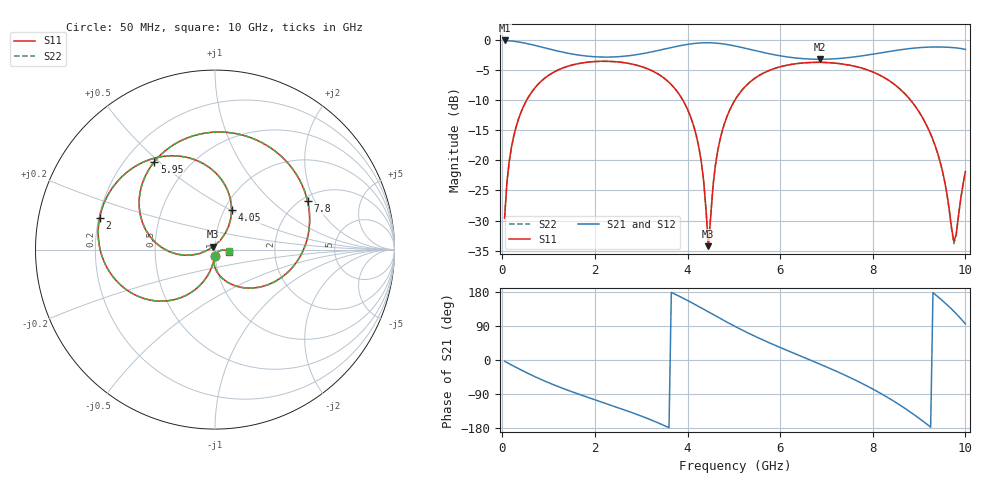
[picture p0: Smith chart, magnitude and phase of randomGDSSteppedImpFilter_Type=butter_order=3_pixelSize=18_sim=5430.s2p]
! freq	dB(S11)	phase(S11)	dB(S12)	phase(S12)
!  dB(S21)	phase(S21)	dB(S22)	phase(S22)
!S-par simulation data
#  GHz  S  DB  R 50
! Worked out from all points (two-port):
!   200 points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, 50 MHz to 10 GHz, reference 50 ohm
!   highest |S21| = -0.01 dB at 50 MHz (marker M1); lowest = -3.1 dB at 6.85 GHz (marker M2)
!   |S21| within 3 dB of the highest: start of sweep to 6.446 GHz; 7.278 GHz to end of sweep
!   lowest |S11| = -34.3 dB at 4.45 GHz (marker M3), VSWR 1.04, Z = 49 + j1.65 ohm
!   |S11| at or under -10 dB: start of sweep to 523.6 MHz; 3.902 GHz to 5.02 GHz (1.117 GHz wide, 25 % of centre); 8.821 GHz to end of sweep
!   |S22| runs from -33.9 to -3.5 dB; largest |S21 - S12| = 0
!   S11 on the Smith chart (normalised r, x): 50 MHz: 0.99, -0.07; 2 GHz: 0.20, +0.13; 4.05 GHz: 1.08, +0.51; 5.95 GHz: 0.32, +0.48; 7.8 GHz: 2.15, +1.76; 10 GHz: 1.17, -0.03
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0.05  -29.60 -93.4  -0.01 -3.3  -0.01 -3.3  -29.60 -93.4
0.2  -17.71 -103.7  -0.10 -13.2  -0.10 -13.2  -17.71 -103.7
0.5  -10.33 -122.6  -0.47 -32.0  -0.47 -32.0  -10.33 -122.6
1.05  -5.57 -153.0  -1.50 -62.5  -1.50 -62.5  -5.57 -153.0
1.75  -3.72 175.1  -2.55 -94.5  -2.55 -94.5  -3.72 175.1
2  -3.52 164.6  -2.73 -104.9  -2.73 -104.9  -3.52 164.7
3.4  -5.78 102.8  -1.62 -167.8  -1.62 -167.8  -5.78 102.9
4.05  -12.41 67.3  -0.60 153.9  -0.60 153.9  -12.41 67.5
4.3  -20.36 57.6  -0.41 137.2  -0.41 137.2  -20.34 58.4
4.45  -34.27 119.3  -0.39 127.0  -0.39 127.0  -33.69 119.7
4.65  -18.46 -166.0  -0.47 113.4  -0.47 113.4  -18.44 -166.8
5.05  -9.61 173.7  -0.97 87.1  -0.97 87.1  -9.61 173.4
5.95  -4.51 124.6  -2.50 35.6  -2.50 35.6  -4.50 124.4
6.7  -3.66 87.1  -3.12 -2.7  -3.12 -2.7  -3.66 86.9
6.85  -3.65 79.5  -3.14 -10.4  -3.14 -10.4  -3.65 79.3
7.8  -4.70 27.7  -2.54 -63.8  -2.54 -63.8  -4.70 27.5
8.35  -6.68 -7.7  -1.85 -100.9  -1.85 -100.9  -6.68 -7.9
8.8  -9.80 -40.3  -1.35 -136.4  -1.35 -136.4  -9.81 -40.5
9.3  -16.56 -79.3  -1.10 177.8  -1.10 177.8  -16.58 -79.7
9.55  -23.38 -95.1  -1.12 151.7  -1.12 151.7  -23.44 -95.7
9.75  -33.48 -55.3  -1.21 128.5  -1.21 128.5  -33.86 -54.8
10  -21.84 -7.6  -1.49 95.2  -1.49 95.2  -21.83 -6.7
